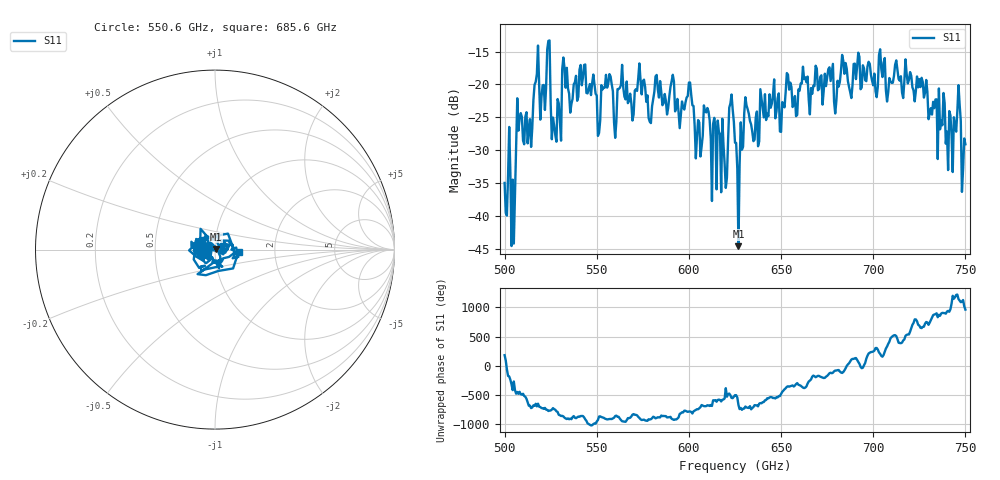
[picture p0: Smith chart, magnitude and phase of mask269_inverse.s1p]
!Created with skrf (http://scikit-rf.org).
# GHz S MA R 50.0
!freq magS11 angS11
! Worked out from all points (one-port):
!   401 points, 500 GHz to 750 GHz, reference 50 ohm
!   lowest |S11| = -44.6 dB at 626.9 GHz (marker M1), VSWR 1.01, Z = 50.4 + j0.41 ohm
!   |S11| at or under -10 dB: start of sweep to end of sweep
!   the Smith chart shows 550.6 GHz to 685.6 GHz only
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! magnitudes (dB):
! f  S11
! 500 GHz  -35.0
! 504.4 GHz  -34.5
! 507.5 GHz  -27.0
! 513.8 GHz  -25.3
! 517.5 GHz  -18.4
! 520.6 GHz  -20.1
! 523.8 GHz  -13.4
! 526.9 GHz  -26.3
! 531.2 GHz  -17.7
! 542.5 GHz  -18.9
! 550.6 GHz  -27.8
! 562.5 GHz  -20.5
! 593.8 GHz  -22.2
! 600 GHz  -19.7
! 605 GHz  -25.4
! 609.4 GHz  -24.3
! 620 GHz  -35.8
! 623.1 GHz  -21.5
! 625 GHz  -28.9
! 626.9 GHz  -44.6
! 631.2 GHz  -23.2
! 636.9 GHz  -24.1
! 656.2 GHz  -23.4
! 687.5 GHz  -21.2
! 718.8 GHz  -19.9
! 741.9 GHz  -24.7
! 746.2 GHz  -20.1
! 750 GHz  -29.1
